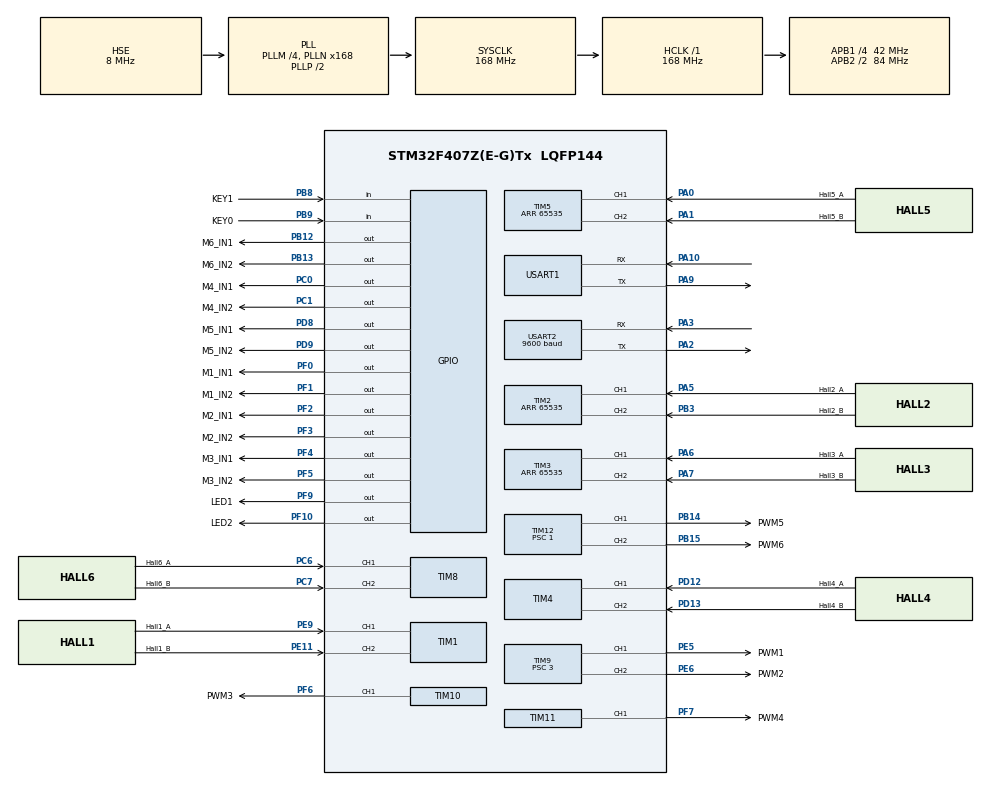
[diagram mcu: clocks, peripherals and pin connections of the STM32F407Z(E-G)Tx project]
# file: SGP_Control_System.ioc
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Mcu.Family=STM32F4
Mcu.Name=STM32F407Z(E-G)Tx
Mcu.Package=LQFP144
NVIC.PriorityGroup=NVIC_PRIORITYGROUP_4
NVIC.TIM6_DAC_IRQn=true\:1\:0\:true\:false\:true\:true\:true\:true
NVIC.USART1_IRQn=true\:2\:0\:true\:false\:true\:true\:true\:true
NVIC.USART2_IRQn=true\:3\:0\:true\:false\:true\:true\:true\:true
PA0-WKUP.GPIO_Label=Hall5_A
PA0-WKUP.GPIO_PuPd=GPIO_PULLUP
PA0-WKUP.Signal=S_TIM5_CH1
PA1.GPIO_Label=Hall5_B
PA1.GPIO_PuPd=GPIO_PULLUP
PA1.Signal=S_TIM5_CH2
PA10.Mode=Asynchronous
PA10.Signal=USART1_RX
PA13.Mode=Serial_Wire
PA13.Signal=SYS_JTMS-SWDIO
PA14.Mode=Serial_Wire
PA14.Signal=SYS_JTCK-SWCLK
PA2.Mode=Asynchronous
PA2.Signal=USART2_TX
PA3.Mode=Asynchronous
PA3.Signal=USART2_RX
PA5.GPIO_Label=Hall2_A
PA5.GPIO_PuPd=GPIO_PULLUP
PA5.Signal=S_TIM2_CH1_ETR
PA6.GPIO_Label=Hall3_A
PA6.GPIO_PuPd=GPIO_PULLUP
PA6.Signal=S_TIM3_CH1
PA7.GPIO_Label=Hall3_B
PA7.GPIO_PuPd=GPIO_PULLUP
PA7.Signal=S_TIM3_CH2
PA9.Mode=Asynchronous
PA9.Signal=USART1_TX
PB12.GPIO_Label=M6_IN1
PB12.Signal=GPIO_Output
PB13.GPIO_Label=M6_IN2
PB13.Signal=GPIO_Output
PB14.GPIO_Label=PWM5
PB14.Signal=S_TIM12_CH1
PB15.GPIO_Label=PWM6
PB15.Signal=S_TIM12_CH2
PB3.GPIO_Label=Hall2_B
PB3.GPIO_PuPd=GPIO_PULLUP
PB3.Signal=S_TIM2_CH2
PB8.GPIO_Label=KEY1
PB8.GPIO_PuPd=GPIO_PULLUP
PB8.Signal=GPIO_Input
PB9.GPIO_Label=KEY0
PB9.GPIO_PuPd=GPIO_PULLUP
PB9.Signal=GPIO_Input
PC0.GPIO_Label=M4_IN1
PC0.Signal=GPIO_Output
PC1.GPIO_Label=M4_IN2
PC1.Signal=GPIO_Output
PC14-OSC32_IN.Mode=LSE-External-Oscillator
PC14-OSC32_IN.Signal=RCC_OSC32_IN
PC15-OSC32_OUT.Mode=LSE-External-Oscillator
PC15-OSC32_OUT.Signal=RCC_OSC32_OUT
PC6.GPIO_Label=Hall6_A
PC6.GPIO_PuPd=GPIO_PULLUP
PC6.Signal=S_TIM8_CH1
PC7.GPIO_Label=Hall6_B
PC7.GPIO_PuPd=GPIO_PULLUP
PC7.Signal=S_TIM8_CH2
PD12.GPIO_Label=Hall4_A
PD12.GPIO_PuPd=GPIO_PULLUP
PD12.Signal=S_TIM4_CH1
PD13.GPIO_Label=Hall4_B
PD13.GPIO_PuPd=GPIO_PULLUP
PD13.Signal=S_TIM4_CH2
PD8.GPIO_Label=M5_IN1
PD8.Signal=GPIO_Output
PD9.GPIO_Label=M5_IN2
PD9.Signal=GPIO_Output
PE11.GPIO_Label=Hall1_B
PE11.GPIO_PuPd=GPIO_PULLUP
PE11.Signal=S_TIM1_CH2
PE5.GPIO_Label=PWM1
PE5.Signal=S_TIM9_CH1
PE6.GPIO_Label=PWM2
PE6.Signal=S_TIM9_CH2
PE9.GPIO_Label=Hall1_A
PE9.GPIO_PuPd=GPIO_PULLUP
PE9.Signal=S_TIM1_CH1
PF0.GPIO_Label=M1_IN1
PF0.Signal=GPIO_Output
PF1.GPIO_Label=M1_IN2
PF1.Signal=GPIO_Output
PF10.GPIO_Label=LED2
PF10.PinState=GPIO_PIN_SET
PF10.Signal=GPIO_Output
PF2.GPIO_Label=M2_IN1
PF2.Signal=GPIO_Output
PF3.GPIO_Label=M2_IN2
PF3.Signal=GPIO_Output
PF4.GPIO_Label=M3_IN1
PF4.Signal=GPIO_Output
PF5.GPIO_Label=M3_IN2
PF5.Signal=GPIO_Output
PF6.GPIO_Label=PWM3
PF6.Signal=S_TIM10_CH1
PF7.GPIO_Label=PWM4
PF7.Signal=S_TIM11_CH1
PF9.GPIO_Label=LED1
PF9.PinState=GPIO_PIN_SET
PF9.Signal=GPIO_Output
PH0-OSC_IN.Mode=HSE-External-Oscillator
PH0-OSC_IN.Signal=RCC_OSC_IN
PH1-OSC_OUT.Mode=HSE-External-Oscillator
PH1-OSC_OUT.Signal=RCC_OSC_OUT
ProjectManager.HeapSize=0x200
ProjectManager.StackSize=0x400
ProjectManager.TargetToolchain=MDK-ARM V5.32
RCC.48MHZClocksFreq_Value=84000000
RCC.AHBFreq_Value=168000000
RCC.APB1CLKDivider=RCC_HCLK_DIV4
RCC.APB1Freq_Value=42000000
RCC.APB1TimFreq_Value=84000000
RCC.APB2CLKDivider=RCC_HCLK_DIV2
RCC.APB2Freq_Value=84000000
RCC.APB2TimFreq_Value=168000000
RCC.CortexFreq_Value=168000000
RCC.HCLKFreq_Value=168000000
RCC.HSE_VALUE=8000000
RCC.HSI_VALUE=16000000
RCC.PLLM=4
RCC.PLLN=168
RCC.PLLSourceVirtual=RCC_PLLSOURCE_HSE
RCC.SYSCLKFreq_VALUE=168000000
RCC.SYSCLKSource=RCC_SYSCLKSOURCE_PLLCLK
RCC.VCOOutputFreq_Value=336000000
SH.S_TIM10_CH1.0=TIM10_CH1,PWM Generation1 CH1
SH.S_TIM11_CH1.0=TIM11_CH1,PWM Generation1 CH1
SH.S_TIM12_CH1.0=TIM12_CH1,PWM Generation1 CH1
SH.S_TIM12_CH2.0=TIM12_CH2,PWM Generation2 CH2
SH.S_TIM1_CH1.0=TIM1_CH1,Encoder_Interface
SH.S_TIM1_CH2.0=TIM1_CH2,Encoder_Interface
SH.S_TIM2_CH1_ETR.0=TIM2_CH1,Encoder_Interface
SH.S_TIM2_CH2.0=TIM2_CH2,Encoder_Interface
SH.S_TIM3_CH1.0=TIM3_CH1,Encoder_Interface
SH.S_TIM3_CH2.0=TIM3_CH2,Encoder_Interface
SH.S_TIM4_CH1.0=TIM4_CH1,Encoder_Interface
SH.S_TIM4_CH2.0=TIM4_CH2,Encoder_Interface
SH.S_TIM5_CH1.0=TIM5_CH1,Encoder_Interface
SH.S_TIM5_CH2.0=TIM5_CH2,Encoder_Interface
SH.S_TIM8_CH1.0=TIM8_CH1,Encoder_Interface
SH.S_TIM8_CH2.0=TIM8_CH2,Encoder_Interface
SH.S_TIM9_CH1.0=TIM9_CH1,PWM Generation1 CH1
SH.S_TIM9_CH2.0=TIM9_CH2,PWM Generation2 CH2
TIM1.ClockDivision=TIM_CLOCKDIVISION_DIV1
TIM1.EncoderMode=TIM_ENCODERMODE_TI12
TIM1.IC1Filter=10
TIM1.IC2Filter=10
TIM10.AutoReloadPreload=TIM_AUTORELOAD_PRELOAD_ENABLE
TIM10.Channel=TIM_CHANNEL_1
TIM10.Period=4199
TIM10.Prescaler=3
TIM11.AutoReloadPreload=TIM_AUTORELOAD_PRELOAD_ENABLE
TIM11.Channel=TIM_CHANNEL_1
TIM11.Period=4199
TIM11.Prescaler=3
TIM12.AutoReloadPreload=TIM_AUTORELOAD_PRELOAD_ENABLE
TIM12.Channel-PWM\ Generation1\ CH1=TIM_CHANNEL_1
TIM12.Channel-PWM\ Generation2\ CH2=TIM_CHANNEL_2
TIM12.Period=4199
TIM12.Prescaler=1
TIM2.EncoderMode=TIM_ENCODERMODE_TI12
TIM2.IC1Filter=10
TIM2.IC2Filter=10
TIM2.Period=65535
TIM3.EncoderMode=TIM_ENCODERMODE_TI12
TIM3.IC1Filter=10
TIM3.IC2Filter=10
TIM3.Period=65535
TIM4.EncoderMode=TIM_ENCODERMODE_TI12
TIM4.IC1Filter=10
TIM5.EncoderMode=TIM_ENCODERMODE_TI12
TIM5.IC1Filter=10
TIM5.IC2Filter=10
TIM5.Period=65535
TIM6.AutoReloadPreload=TIM_AUTORELOAD_PRELOAD_ENABLE
TIM6.Period=99
TIM6.Prescaler=8399
TIM8.EncoderMode=TIM_ENCODERMODE_TI12
TIM8.IC1Filter=10
TIM8.IC2Filter=10
TIM9.AutoReloadPreload=TIM_AUTORELOAD_PRELOAD_ENABLE
TIM9.Channel-PWM\ Generation1\ CH1=TIM_CHANNEL_1
TIM9.Channel-PWM\ Generation2\ CH2=TIM_CHANNEL_2
TIM9.Period=4199
TIM9.Prescaler=3
USART1.VirtualMode=VM_ASYNC
USART2.BaudRate=9600
USART2.VirtualMode=VM_ASYNC
VP_TIM10_VS_ClockSourceINT.Mode=Enable_Timer
VP_TIM11_VS_ClockSourceINT.Mode=Enable_Timer
VP_TIM6_VS_ClockSourceINT.Mode=Enable_Timer
board=custom

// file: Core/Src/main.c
/* USER CODE BEGIN Header */
/**
  ******************************************************************************
  * @file           : main.c
  * @brief          : Main program body
  ******************************************************************************
  */
/* USER CODE END Header */
#include "main.h"
#include "tim.h"
#include "usart.h"
#include "gpio.h"

/* USER CODE BEGIN Includes */
#include "Actuator.h"
#include "bsp_uart.h"
#include "control_manager.h"
#include "encoder.h"
#include "hwt901b.h"
#include <stdio.h>
/* USER CODE END Includes */

/* USER CODE BEGIN PV */
Actuator_t acts[6];
/* USER CODE END PV */

void SystemClock_Config(void);

/* USER CODE BEGIN 0 */
int fputc(int ch, FILE *f) {
    (void)f;
    if (__HAL_UART_GET_FLAG(&huart1, UART_FLAG_ORE) != RESET) {
        __HAL_UART_CLEAR_OREFLAG(&huart1);
    }
    HAL_UART_Transmit(&huart1, (uint8_t *)&ch, 1, 10);
    return ch;
}
/* USER CODE END 0 */

int main(void)
{

  /* MCU Configuration--------------------------------------------------------*/

  /* Reset of all peripherals, Initializes the Flash interface and the Systick. */
  HAL_Init();

  /* Configure the system clock */
  SystemClock_Config();

  /* Initialize all configured peripherals */
  MX_GPIO_Init();
  MX_USART1_UART_Init();
  MX_TIM3_Init();
  MX_TIM1_Init();
  MX_TIM2_Init();
  MX_TIM4_Init();
  MX_TIM5_Init();
  MX_TIM6_Init();
  MX_TIM8_Init();
  MX_TIM9_Init();
  MX_TIM10_Init();
  MX_TIM11_Init();
  MX_TIM12_Init();
  MX_USART2_UART_Init();
  /* USER CODE BEGIN 2 */
  Encoders_Init();
  UART_Init_Receive();
  HWT901B_Init(&huart2);
  ControlMgr_Init();

  HAL_TIM_Base_Start_IT(&htim6);
  /* USER CODE END 2 */

  /* Infinite loop */
  /* USER CODE BEGIN WHILE */
  while (1)
  {
    UART_ProcessCommand();
    HWT901B_Process();
    // ControlMgr_MainTask();
    /* USER CODE END WHILE */

  }
}

void SystemClock_Config(void)
{
  RCC_OscInitTypeDef RCC_OscInitStruct = {0};
  RCC_ClkInitTypeDef RCC_ClkInitStruct = {0};

  /** Configure the main internal regulator output voltage
  */
  __HAL_RCC_PWR_CLK_ENABLE();
  __HAL_PWR_VOLTAGESCALING_CONFIG(PWR_REGULATOR_VOLTAGE_SCALE1);

  /** Initializes the RCC Oscillators according to the specified parameters
  * in the RCC_OscInitTypeDef structure.
  */
  RCC_OscInitStruct.OscillatorType = RCC_OSCILLATORTYPE_HSE;
  RCC_OscInitStruct.HSEState = RCC_HSE_ON;
  RCC_OscInitStruct.PLL.PLLState = RCC_PLL_ON;
  RCC_OscInitStruct.PLL.PLLSource = RCC_PLLSOURCE_HSE;
  RCC_OscInitStruct.PLL.PLLM = 4;
  RCC_OscInitStruct.PLL.PLLN = 168;
  RCC_OscInitStruct.PLL.PLLP = RCC_PLLP_DIV2;
  RCC_OscInitStruct.PLL.PLLQ = 4;
  if (HAL_RCC_OscConfig(&RCC_OscInitStruct) != HAL_OK)
  {
    Error_Handler();
  }

  /** Initializes the CPU, AHB and APB buses clocks
  */
  RCC_ClkInitStruct.ClockType = RCC_CLOCKTYPE_HCLK|RCC_CLOCKTYPE_SYSCLK
                              |RCC_CLOCKTYPE_PCLK1|RCC_CLOCKTYPE_PCLK2;
  RCC_ClkInitStruct.SYSCLKSource = RCC_SYSCLKSOURCE_PLLCLK;
  RCC_ClkInitStruct.AHBCLKDivider = RCC_SYSCLK_DIV1;
  RCC_ClkInitStruct.APB1CLKDivider = RCC_HCLK_DIV4;
  RCC_ClkInitStruct.APB2CLKDivider = RCC_HCLK_DIV2;

  if (HAL_RCC_ClockConfig(&RCC_ClkInitStruct, FLASH_LATENCY_5) != HAL_OK)
  {
    Error_Handler();
  }
}

/* USER CODE BEGIN 4 */
void HAL_TIM_PeriodElapsedCallback(TIM_HandleTypeDef *htim) {
    if (htim->Instance == TIM6) {
        ControlMgr_Tick10ms();
    }
}
/* USER CODE END 4 */

void Error_Handler(void)
{
  __disable_irq();
  while (1)
  {
  }
}
